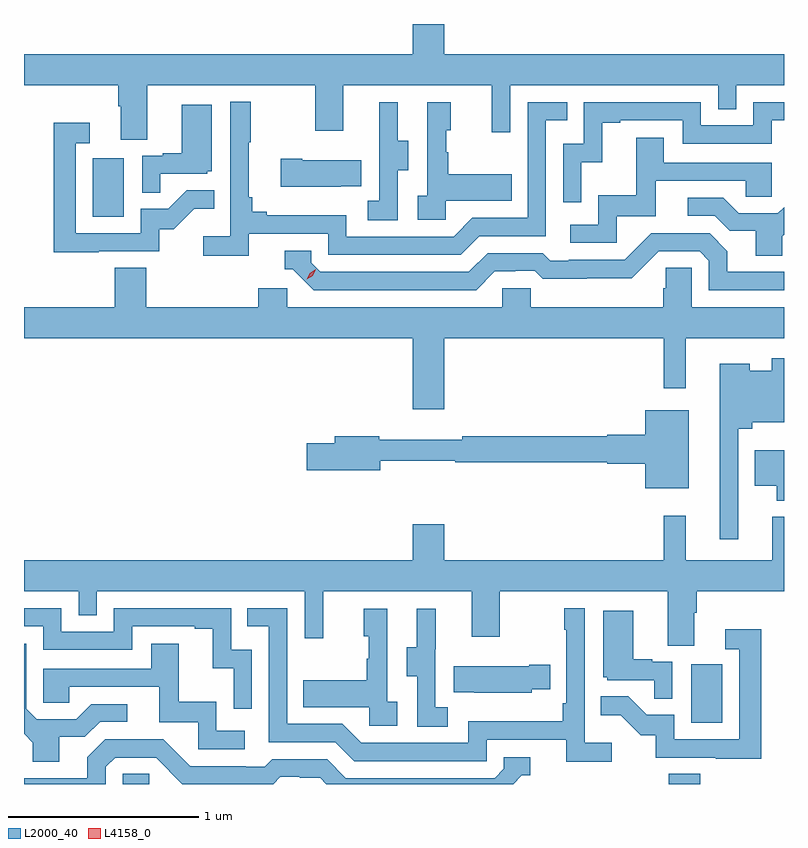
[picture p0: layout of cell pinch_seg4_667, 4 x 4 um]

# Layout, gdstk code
import gdstk
lib = gdstk.Library(unit=1e-6, precision=1e-09)
def R(c, l, rs):  # rectangles x0, y0, x1, y1
    for r in rs: c.add(gdstk.rectangle(r[:2], r[2:], *l))
def P(c, l, *ps):  # polygons
    for p in ps: c.add(gdstk.Polygon(p, *l))
L2000_40 = (2000, 40)
L4158_0 = (4158, 0)

pinch_seg4_667 = lib.new_cell('pinch_seg4_667')
R(pinch_seg4_667, L2000_40, [(1086.558,762.506,1086.695,762.56), (1089.431,762.506,1089.596,762.56), (1089.548,762.828,1089.712,763.135), (1086.398,765.492,1086.562,765.799)])
P(pinch_seg4_667, L2000_40, [(1086.685,766.184),(1087.57,766.184),(1087.57,765.945),(1087.717,765.945),(1087.717,766.184),(1088.498,766.184),(1088.498,765.936),(1088.595,765.936),(1088.595,766.184),(1089.69,766.184),(1089.69,766.057),(1089.786,766.057),(1089.786,766.184),(1090.037,766.184),(1090.037,766.348),(1088.248,766.348),(1088.248,766.506),(1088.084,766.506),(1088.084,766.348),(1086.037,766.348),(1086.037,766.184),(1086.533,766.184),(1086.533,766.072),(1086.545,766.072),(1086.545,765.898),(1086.685,765.898)],
  [(1087.22,765.402),(1087.638,765.402),(1087.638,765.291),(1088.335,765.291),(1088.434,765.39),(1088.784,765.39),(1088.784,765.999),(1088.897,765.999),(1088.897,766.095),(1088.688,766.095),(1088.688,765.486),(1088.397,765.486),(1088.298,765.387),(1087.734,765.387),(1087.734,765.499),(1087.315,765.499),(1087.315,765.518),(1087.238,765.518),(1087.238,765.595),(1087.219,765.595),(1087.219,765.883),(1087.231,765.883),(1087.231,766.096),(1087.122,766.096),(1087.122,765.388),(1086.981,765.388),(1086.981,765.286),(1087.22,765.286)],
  [(1088.97,765.779),(1089.08,765.779),(1089.08,765.987),(1089.175,765.987),(1089.175,765.999),(1089.504,765.999),(1089.504,765.876),(1089.972,765.876),(1089.972,765.999),(1090.037,765.999),(1090.037,766.095),(1089.876,766.095),(1089.876,765.972),(1089.6,765.972),(1089.6,766.095),(1088.982,766.095),(1088.982,765.876),(1088.874,765.876),(1088.874,765.567),(1088.97,765.567)],
  [(1088.004,765.736),(1088.059,765.736),(1088.059,765.891),(1088.005,765.891),(1088.005,766.093),(1087.907,766.093),(1087.907,765.879),(1087.908,765.879),(1087.908,765.575),(1087.845,765.575),(1087.845,765.472),(1088.004,765.472)],
  [(1088.256,765.575),(1088.603,765.575),(1088.603,765.715),(1088.269,765.715),(1088.269,765.83),(1088.259,765.83),(1088.259,765.948),(1088.284,765.948),(1088.284,766.093),(1088.16,766.093),(1088.16,765.602),(1088.109,765.602),(1088.109,765.477),(1088.256,765.477)],
  [(1086.755,765.717),(1087.002,765.717),(1087.002,765.732),(1087.024,765.732),(1087.024,766.081),(1086.866,766.081),(1086.866,765.826),(1086.767,765.826),(1086.767,765.813),(1086.66,765.813),(1086.66,765.619),(1086.755,765.619)],
  [(1086.431,765.309),(1086.75,765.309),(1086.75,765.426),(1086.826,765.426),(1086.933,765.533),(1087.037,765.533),(1087.037,765.632),(1086.893,765.632),(1086.795,765.534),(1086.651,765.534),(1086.651,765.405),(1086.309,765.405),(1086.309,765.879),(1086.382,765.879),(1086.382,765.985),(1086.193,765.985),(1086.193,765.304),(1086.431,765.304)],
  [(1089.156,765.495),(1089.361,765.495),(1089.361,765.681),(1089.835,765.681),(1089.835,765.597),(1089.972,765.597),(1089.972,765.777),(1089.403,765.777),(1089.403,765.907),(1089.259,765.907),(1089.259,765.604),(1089.06,765.604),(1089.06,765.45),(1088.913,765.45),(1088.913,765.354),(1089.156,765.354)],
  [(1087.703,765.653),(1087.811,765.653),(1087.811,765.79),(1087.501,765.79),(1087.501,765.798),(1087.389,765.798),(1087.389,765.65),(1087.703,765.65)],
  [(1090.027,765.388),(1090.037,765.398),(1090.037,765.542),(1090.005,765.51),(1089.799,765.51),(1089.718,765.591),(1089.531,765.591),(1089.531,765.498),(1089.672,765.498),(1089.752,765.418),(1089.887,765.418),(1089.887,765.286),(1090.027,765.286)],
  [(1088.515,765.204),(1088.622,765.204),(1088.622,765.207),(1088.725,765.207),(1088.767,765.165),(1089,765.165),(1089,765.167),(1089.236,765.167),(1089.378,765.309),(1089.594,765.309),(1089.642,765.261),(1089.642,765.105),(1090.037,765.105),(1090.037,765.201),(1089.739,765.201),(1089.739,765.311),(1089.645,765.405),(1089.339,765.405),(1089.198,765.264),(1088.905,765.264),(1088.905,765.261),(1088.806,765.261),(1088.767,765.3),(1088.478,765.3),(1088.379,765.201),(1087.596,765.201),(1087.548,765.249),(1087.548,765.312),(1087.409,765.312),(1087.409,765.216),(1087.452,765.216),(1087.563,765.105),(1088.416,765.105)],
  [(1088.248,764.852),(1089.403,764.852),(1089.403,764.589),(1089.52,764.589),(1089.52,764.852),(1090.037,764.852),(1090.037,765.016),(1089.552,765.016),(1089.552,765.224),(1089.415,765.224),(1089.415,765.114),(1089.401,765.114),(1089.401,765.016),(1088.703,765.016),(1088.703,765.114),(1088.553,765.114),(1088.553,765.016),(1087.422,765.016),(1087.422,765.114),(1087.271,765.114),(1087.271,765.016),(1086.68,765.016),(1086.68,765.224),(1086.515,765.224),(1086.515,765.016),(1086.037,765.016),(1086.037,764.852),(1088.084,764.852),(1088.084,764.478),(1088.248,764.478)],
  [(1089.795,764.375),(1089.869,764.375),(1089.869,764.411),(1090.037,764.411),(1090.037,764.746),(1089.972,764.746),(1089.972,764.68),(1089.856,764.68),(1089.856,764.719),(1089.698,764.719),(1089.698,763.794),(1089.795,763.794)],
  [(1089.535,764.473),(1089.308,764.473),(1089.308,764.344),(1089.108,764.344),(1089.108,764.336),(1088.344,764.336),(1088.344,764.317),(1087.908,764.317),(1087.908,764.336),(1087.673,764.336),(1087.673,764.3),(1087.524,764.3),(1087.524,764.158),(1087.912,764.158),(1087.912,764.208),(1088.308,764.208),(1088.308,764.2),(1089.108,764.2),(1089.108,764.192),(1089.308,764.192),(1089.308,764.063),(1089.535,764.063)],
  [(1090.037,764.263),(1089.884,764.263),(1089.884,764.075),(1089.998,764.075),(1089.998,763.998),(1090.037,763.998)],
  [(1089.565,763.408),(1089.578,763.408),(1089.578,763.52),(1090.037,763.52),(1090.037,763.913),(1089.974,763.913),(1089.974,763.684),(1089.521,763.684),(1089.521,763.918),(1089.403,763.918),(1089.403,763.684),(1088.248,763.684),(1088.248,763.873),(1088.084,763.873),(1088.084,763.684),(1086.037,763.684),(1086.037,763.52),(1086.324,763.52),(1086.324,763.393),(1086.42,763.393),(1086.42,763.52),(1087.515,763.52),(1087.515,763.272),(1087.613,763.272),(1087.613,763.52),(1088.393,763.52),(1088.393,763.281),(1088.541,763.281),(1088.541,763.52),(1089.425,763.52),(1089.425,763.234),(1089.565,763.234)],
  [(1089.13,762.724),(1088.988,762.724),(1088.988,763.432),(1088.88,763.432),(1088.88,763.319),(1088.892,763.319),(1088.892,762.931),(1088.872,762.931),(1088.872,762.835),(1088.376,762.835),(1088.376,762.723),(1087.812,762.723),(1087.713,762.822),(1087.422,762.822),(1087.422,763.431),(1087.213,763.431),(1087.213,763.335),(1087.326,763.335),(1087.326,762.726),(1087.676,762.726),(1087.775,762.627),(1088.472,762.627),(1088.472,762.738),(1088.891,762.738),(1088.891,762.622),(1089.13,762.622)],
  [(1087.236,763.212),(1087.128,763.212),(1087.128,763.431),(1086.51,763.431),(1086.51,763.308),(1086.234,763.308),(1086.234,763.431),(1086.037,763.431),(1086.037,763.335),(1086.138,763.335),(1086.138,763.212),(1086.606,763.212),(1086.606,763.335),(1086.935,763.335),(1086.935,763.323),(1087.031,763.323),(1087.031,763.115),(1087.14,763.115),(1087.14,762.903),(1087.236,762.903)],
  [(1088.266,762.911),(1088.202,762.911),(1088.202,763.215),(1088.204,763.215),(1088.204,763.429),(1088.105,763.429),(1088.105,763.227),(1088.051,763.227),(1088.051,763.072),(1088.106,763.072),(1088.106,762.808),(1088.266,762.808)],
  [(1088.002,762.938),(1087.95,762.938),(1087.95,763.429),(1087.826,763.429),(1087.826,763.284),(1087.852,763.284),(1087.852,763.166),(1087.842,763.166),(1087.842,763.051),(1087.507,763.051),(1087.507,762.911),(1087.854,762.911),(1087.854,762.813),(1088.002,762.813)],
  [(1089.45,763.149),(1089.344,763.149),(1089.344,763.162),(1089.244,763.162),(1089.244,763.417),(1089.086,763.417),(1089.086,763.068),(1089.108,763.068),(1089.108,763.053),(1089.355,763.053),(1089.355,762.955),(1089.45,762.955)],
  [(1089.917,763.321),(1089.729,763.321),(1089.729,763.215),(1089.801,763.215),(1089.801,762.741),(1089.459,762.741),(1089.459,762.87),(1089.315,762.87),(1089.217,762.968),(1089.073,762.968),(1089.073,762.869),(1089.177,762.869),(1089.284,762.762),(1089.361,762.762),(1089.361,762.645),(1089.679,762.645),(1089.679,762.64),(1089.917,762.64)],
  [(1087.198,762.786),(1087.05,762.786),(1087.05,762.94),(1086.851,762.94),(1086.851,763.243),(1086.707,763.243),(1086.707,763.113),(1086.138,763.113),(1086.138,762.933),(1086.275,762.933),(1086.275,763.017),(1086.749,763.017),(1086.749,762.831),(1086.954,762.831),(1086.954,762.69),(1087.198,762.69)],
  [(1086.223,762.754),(1086.358,762.754),(1086.438,762.834),(1086.58,762.834),(1086.58,762.927),(1086.392,762.927),(1086.311,762.846),(1086.105,762.846),(1086.048,762.903),(1086.048,763.243),(1086.037,763.243),(1086.037,762.77),(1086.083,762.724),(1086.083,762.622),(1086.223,762.622)],
  [(1088.709,763.004),(1088.807,763.004),(1088.807,763.134),(1088.696,763.134),(1088.696,763.126),(1088.299,763.126),(1088.299,762.989),(1088.407,762.989),(1088.407,762.986),(1088.709,762.986)],
  [(1086.468,762.597),(1086.516,762.645),(1086.732,762.645),(1086.871,762.506),(1087.348,762.506),(1087.385,762.543),(1087.488,762.543),(1087.488,762.54),(1087.595,762.54),(1087.629,762.506),(1088.612,762.506),(1088.658,762.552),(1088.701,762.552),(1088.701,762.648),(1088.562,762.648),(1088.562,762.585),(1088.514,762.537),(1087.731,762.537),(1087.632,762.636),(1087.343,762.636),(1087.304,762.597),(1087.205,762.597),(1087.205,762.6),(1086.912,762.6),(1086.771,762.741),(1086.465,762.741),(1086.371,762.647),(1086.371,762.537),(1086.037,762.537),(1086.037,762.506),(1086.468,762.506)])
P(pinch_seg4_667, L4158_0, [(1087.526,765.162),(1087.526,765.162),(1087.542,765.195),(1087.572,765.215),(1087.573,765.215),(1087.573,765.214),(1087.557,765.181),(1087.526,765.162)])

lib.write_gds('pinch_seg4_667.gds')
